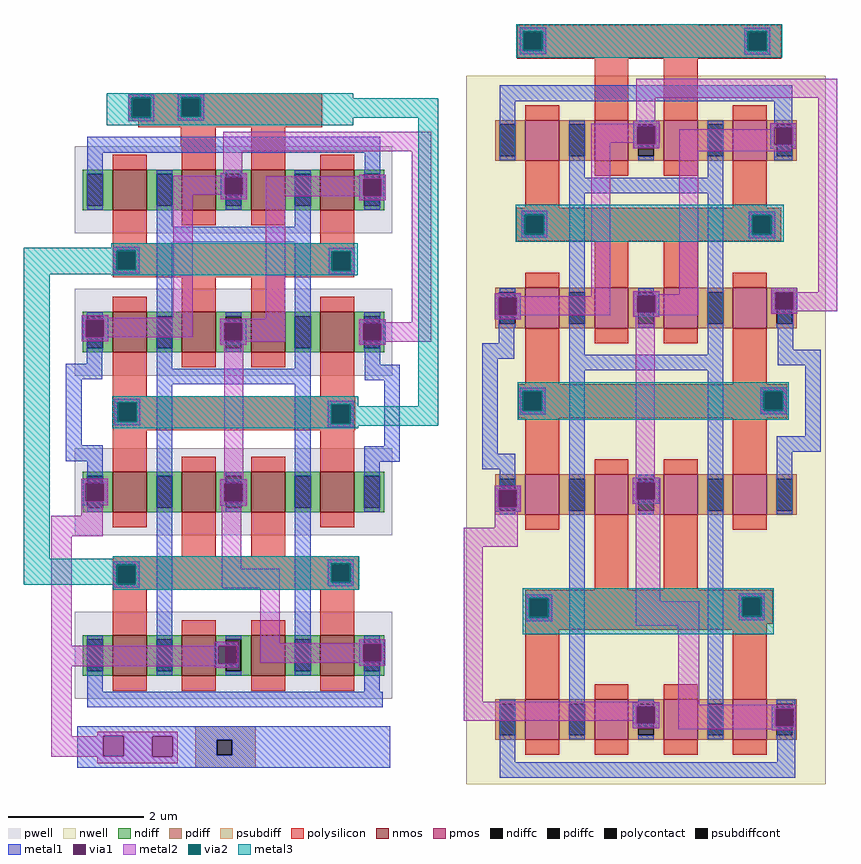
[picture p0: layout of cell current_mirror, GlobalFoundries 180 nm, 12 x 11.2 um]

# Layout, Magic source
magic
tech gf180mcuC
magscale 1 10
<< nwell >>
rect 1154 -30 2214 91
rect 1486 -410 2205 -254
rect 1154 -580 2214 -410
rect 1486 -960 2205 -580
rect 1154 -1243 2214 -960
rect 1486 -1549 2205 -1243
<< pwell >>
rect 494 170 507 177
<< ndiff >>
rect 494 170 507 177
<< psubdiff >>
rect 355 -1492 533 -1453
rect 355 -1538 418 -1492
rect 464 -1538 533 -1492
rect 355 -1575 533 -1538
<< psubdiffcont >>
rect 418 -1538 464 -1492
<< polysilicon >>
rect 1736 615 1836 617
rect 1304 590 2083 615
rect 1304 544 1328 590
rect 1374 589 2083 590
rect 1374 544 1989 589
rect 1304 543 1989 544
rect 2035 543 2083 589
rect 1304 515 2083 543
rect 187 410 729 413
rect 158 394 729 410
rect 158 393 320 394
rect 158 347 174 393
rect 220 348 320 393
rect 366 348 729 394
rect 1532 370 1632 515
rect 220 347 729 348
rect 158 331 729 347
rect 1736 336 1836 515
rect 187 313 729 331
rect 313 256 416 313
rect 316 206 416 256
rect 520 212 620 313
rect 1328 76 1428 196
rect 1940 76 2040 198
rect 112 -29 212 54
rect 724 -29 824 56
rect 1301 49 2082 76
rect 1301 3 1332 49
rect 1378 48 2082 49
rect 1378 3 2003 48
rect 1301 2 2003 3
rect 2049 2 2082 48
rect 1301 -24 2082 2
rect 112 -42 824 -29
rect 112 -57 825 -42
rect 112 -103 130 -57
rect 176 -59 825 -57
rect 176 -103 764 -59
rect 112 -105 764 -103
rect 810 -105 825 -59
rect 112 -121 825 -105
rect 112 -129 824 -121
rect 316 -198 416 -129
rect 520 -200 620 -129
rect 1532 -142 1632 -24
rect 1736 -144 1836 -24
rect 112 -480 212 -384
rect 724 -480 824 -382
rect 1328 -445 1428 -294
rect 1940 -445 2040 -311
rect 1307 -471 2100 -445
rect 1307 -472 2037 -471
rect 112 -504 826 -480
rect 112 -550 132 -504
rect 178 -510 826 -504
rect 178 -550 762 -510
rect 112 -556 762 -550
rect 808 -556 826 -510
rect 1307 -518 1327 -472
rect 1373 -517 2037 -472
rect 2083 -517 2100 -471
rect 1373 -518 2100 -517
rect 1307 -545 2100 -518
rect 112 -580 826 -556
rect 112 -669 212 -580
rect 724 -663 824 -580
rect 1328 -680 1428 -545
rect 1940 -680 2040 -545
rect 316 -951 416 -860
rect 520 -951 620 -860
rect 112 -978 837 -951
rect 112 -983 762 -978
rect 112 -1029 130 -983
rect 176 -1024 762 -983
rect 808 -1024 837 -978
rect 176 -1029 837 -1024
rect 112 -1051 837 -1029
rect 1532 -1050 1632 -871
rect 1736 -1050 1836 -872
rect 112 -1151 212 -1051
rect 724 -1146 824 -1051
rect 1328 -1078 2057 -1050
rect 1328 -1081 1973 -1078
rect 1328 -1127 1346 -1081
rect 1392 -1124 1973 -1081
rect 2019 -1124 2057 -1078
rect 1392 -1127 2057 -1124
rect 1328 -1150 2057 -1127
rect 1328 -1169 2040 -1150
rect 1328 -1346 1428 -1169
rect 1940 -1344 2040 -1169
<< polycontact >>
rect 1328 544 1374 590
rect 1989 543 2035 589
rect 174 347 220 393
rect 320 348 366 394
rect 1332 3 1378 49
rect 2003 2 2049 48
rect 130 -103 176 -57
rect 764 -105 810 -59
rect 132 -550 178 -504
rect 762 -556 808 -510
rect 1327 -518 1373 -472
rect 2037 -517 2083 -471
rect 130 -1029 176 -983
rect 762 -1024 808 -978
rect 1346 -1127 1392 -1081
rect 1973 -1124 2019 -1078
<< metal1 >>
rect 1312 595 1389 607
rect 1312 540 1324 595
rect 1377 540 1389 595
rect 1312 528 1389 540
rect 1973 594 2050 606
rect 1973 539 1985 594
rect 2038 539 2050 594
rect 1973 527 2050 539
rect 158 398 235 410
rect 158 343 170 398
rect 223 343 235 398
rect 158 331 235 343
rect 304 399 381 411
rect 304 344 316 399
rect 369 344 381 399
rect 304 332 381 344
rect 1253 390 2115 436
rect 37 238 900 284
rect 37 70 83 238
rect 241 20 287 186
rect 649 185 650 186
rect 430 165 507 177
rect 430 113 442 165
rect 495 113 507 165
rect 430 101 507 113
rect 445 81 491 101
rect 649 20 696 185
rect 854 173 900 238
rect 1253 216 1299 390
rect 839 161 916 173
rect 839 109 851 161
rect 904 109 916 161
rect 839 97 916 109
rect 1457 164 1503 332
rect 1646 315 1723 332
rect 1646 263 1658 315
rect 1711 263 1723 315
rect 1646 251 1723 263
rect 1865 164 1911 332
rect 2061 325 2115 390
rect 2050 313 2127 325
rect 2050 261 2062 313
rect 2115 261 2127 313
rect 2050 249 2127 261
rect 2061 216 2115 249
rect 1457 118 1911 164
rect 854 76 900 97
rect 241 -26 696 20
rect 1316 54 1393 66
rect 1316 -1 1328 54
rect 1381 -1 1393 54
rect 1316 -13 1393 -1
rect 114 -52 191 -40
rect 114 -107 126 -52
rect 179 -107 191 -52
rect 114 -119 191 -107
rect 35 -242 81 -237
rect 21 -254 98 -242
rect 21 -306 33 -254
rect 86 -306 98 -254
rect 21 -318 98 -306
rect 35 -384 81 -318
rect -26 -430 81 -384
rect 241 -399 287 -26
rect 429 -264 506 -252
rect 429 -316 441 -264
rect 494 -316 506 -264
rect 429 -328 506 -316
rect 649 -399 696 -26
rect 748 -54 825 -42
rect 748 -109 760 -54
rect 813 -109 825 -54
rect 748 -121 825 -109
rect 1250 -177 1296 -173
rect 1238 -189 1315 -177
rect 854 -253 900 -233
rect 1238 -241 1250 -189
rect 1303 -241 1315 -189
rect 1238 -253 1315 -241
rect 839 -265 916 -253
rect 839 -317 851 -265
rect 904 -317 916 -265
rect 839 -329 916 -317
rect 1250 -324 1296 -253
rect -26 -625 20 -430
rect 241 -445 696 -399
rect 854 -387 900 -329
rect 1201 -370 1296 -324
rect 1457 -358 1503 118
rect 1646 -182 1723 -170
rect 1646 -234 1658 -182
rect 1711 -234 1723 -182
rect 1646 -246 1723 -234
rect 1865 -358 1911 118
rect 1987 53 2064 65
rect 1987 -2 1999 53
rect 2052 -2 2064 53
rect 1987 -14 2064 -2
rect 2053 -173 2130 -161
rect 2053 -225 2065 -173
rect 2118 -225 2130 -173
rect 2053 -237 2130 -225
rect 854 -433 958 -387
rect 116 -499 193 -487
rect 116 -554 128 -499
rect 181 -554 193 -499
rect 116 -566 193 -554
rect -26 -671 83 -625
rect 37 -724 83 -671
rect 19 -736 97 -724
rect 19 -790 31 -736
rect 85 -790 97 -736
rect 19 -802 97 -790
rect 37 -820 83 -802
rect 114 -978 191 -966
rect 114 -1033 126 -978
rect 179 -1033 191 -978
rect 114 -1045 191 -1033
rect 37 -1351 83 -1186
rect 241 -1299 287 -445
rect 429 -737 507 -725
rect 429 -791 441 -737
rect 495 -791 507 -737
rect 429 -803 507 -791
rect 411 -1215 482 -1203
rect 411 -1269 423 -1215
rect 477 -1269 482 -1215
rect 411 -1281 482 -1269
rect 649 -1293 696 -445
rect 746 -505 823 -493
rect 746 -560 758 -505
rect 811 -560 823 -505
rect 746 -572 823 -560
rect 912 -627 958 -433
rect 853 -673 958 -627
rect 1201 -649 1247 -370
rect 1457 -404 1911 -358
rect 2072 -343 2118 -237
rect 2072 -389 2199 -343
rect 1311 -467 1388 -455
rect 1311 -522 1323 -467
rect 1376 -522 1388 -467
rect 1311 -534 1388 -522
rect 853 -820 899 -673
rect 1201 -695 1299 -649
rect 1253 -744 1299 -695
rect 1238 -756 1315 -744
rect 1238 -808 1250 -756
rect 1303 -808 1315 -756
rect 1238 -820 1315 -808
rect 1253 -828 1299 -820
rect 746 -973 823 -961
rect 746 -1028 758 -973
rect 811 -1028 823 -973
rect 746 -1040 823 -1028
rect 1330 -1076 1407 -1064
rect 1330 -1131 1342 -1076
rect 1395 -1131 1407 -1076
rect 1330 -1143 1407 -1131
rect 853 -1197 899 -1186
rect 839 -1209 915 -1197
rect 839 -1262 851 -1209
rect 903 -1262 915 -1209
rect 839 -1274 915 -1262
rect 853 -1351 899 -1274
rect 37 -1397 908 -1351
rect 8 -1481 930 -1453
rect 8 -1541 84 -1481
rect 144 -1482 930 -1481
rect 144 -1541 229 -1482
rect 8 -1542 229 -1541
rect 289 -1492 930 -1482
rect 289 -1538 418 -1492
rect 464 -1538 930 -1492
rect 289 -1542 930 -1538
rect 8 -1575 930 -1542
rect 1253 -1559 1299 -1375
rect 1457 -1485 1503 -404
rect 1645 -733 1722 -721
rect 1645 -785 1657 -733
rect 1710 -785 1722 -733
rect 1645 -797 1722 -785
rect 1645 -1394 1722 -1382
rect 1645 -1446 1657 -1394
rect 1710 -1446 1722 -1394
rect 1645 -1458 1722 -1446
rect 1865 -1486 1911 -404
rect 2021 -466 2098 -454
rect 2021 -521 2033 -466
rect 2086 -521 2098 -466
rect 2021 -533 2098 -521
rect 2153 -598 2199 -389
rect 2069 -644 2199 -598
rect 2069 -828 2115 -644
rect 1957 -1073 2034 -1061
rect 1957 -1128 1969 -1073
rect 2022 -1128 2034 -1073
rect 1957 -1140 2034 -1128
rect 2070 -1389 2123 -1375
rect 2054 -1401 2125 -1389
rect 2054 -1453 2066 -1401
rect 2119 -1453 2125 -1401
rect 2054 -1465 2125 -1453
rect 2070 -1559 2123 -1465
rect 1253 -1605 2123 -1559
<< via1 >>
rect 1324 590 1377 595
rect 1324 544 1328 590
rect 1328 544 1374 590
rect 1374 544 1377 590
rect 1324 540 1377 544
rect 1985 589 2038 594
rect 1985 543 1989 589
rect 1989 543 2035 589
rect 2035 543 2038 589
rect 1985 539 2038 543
rect 170 393 223 398
rect 170 347 174 393
rect 174 347 220 393
rect 220 347 223 393
rect 170 343 223 347
rect 316 394 369 399
rect 316 348 320 394
rect 320 348 366 394
rect 366 348 369 394
rect 316 344 369 348
rect 442 113 495 165
rect 851 109 904 161
rect 1658 263 1711 315
rect 2062 261 2115 313
rect 1328 49 1381 54
rect 1328 3 1332 49
rect 1332 3 1378 49
rect 1378 3 1381 49
rect 1328 -1 1381 3
rect 126 -57 179 -52
rect 126 -103 130 -57
rect 130 -103 176 -57
rect 176 -103 179 -57
rect 126 -107 179 -103
rect 33 -306 86 -254
rect 441 -316 494 -264
rect 760 -59 813 -54
rect 760 -105 764 -59
rect 764 -105 810 -59
rect 810 -105 813 -59
rect 760 -109 813 -105
rect 1250 -241 1303 -189
rect 851 -317 904 -265
rect 1658 -234 1711 -182
rect 1999 48 2052 53
rect 1999 2 2003 48
rect 2003 2 2049 48
rect 2049 2 2052 48
rect 1999 -2 2052 2
rect 2065 -225 2118 -173
rect 128 -504 181 -499
rect 128 -550 132 -504
rect 132 -550 178 -504
rect 178 -550 181 -504
rect 128 -554 181 -550
rect 31 -790 85 -736
rect 126 -983 179 -978
rect 126 -1029 130 -983
rect 130 -1029 176 -983
rect 176 -1029 179 -983
rect 126 -1033 179 -1029
rect 441 -791 495 -737
rect 423 -1269 477 -1215
rect 758 -510 811 -505
rect 758 -556 762 -510
rect 762 -556 808 -510
rect 808 -556 811 -510
rect 758 -560 811 -556
rect 1323 -472 1376 -467
rect 1323 -518 1327 -472
rect 1327 -518 1373 -472
rect 1373 -518 1376 -472
rect 1323 -522 1376 -518
rect 1250 -808 1303 -756
rect 758 -978 811 -973
rect 758 -1024 762 -978
rect 762 -1024 808 -978
rect 808 -1024 811 -978
rect 758 -1028 811 -1024
rect 1342 -1081 1395 -1076
rect 1342 -1127 1346 -1081
rect 1346 -1127 1392 -1081
rect 1392 -1127 1395 -1081
rect 1342 -1131 1395 -1127
rect 851 -1262 903 -1209
rect 84 -1541 144 -1481
rect 229 -1542 289 -1482
rect 1657 -785 1710 -733
rect 1657 -1446 1710 -1394
rect 2033 -471 2086 -466
rect 2033 -517 2037 -471
rect 2037 -517 2083 -471
rect 2083 -517 2086 -471
rect 2033 -521 2086 -517
rect 1969 -1078 2022 -1073
rect 1969 -1124 1973 -1078
rect 1973 -1124 2019 -1078
rect 2019 -1124 2022 -1078
rect 1969 -1128 2022 -1124
rect 2066 -1453 2119 -1401
<< metal2 >>
rect 1312 596 1389 607
rect 1312 539 1322 596
rect 1378 539 1389 596
rect 1312 528 1389 539
rect 1973 595 2050 606
rect 1973 538 1983 595
rect 2039 538 2050 595
rect 1973 527 2050 538
rect 158 399 235 410
rect 158 342 168 399
rect 224 342 235 399
rect 158 331 235 342
rect 304 400 381 411
rect 304 343 314 400
rect 370 343 381 400
rect 304 332 381 343
rect 1655 400 2248 456
rect 1655 332 1711 400
rect 1646 323 1723 332
rect 1522 315 1724 323
rect 437 242 1050 299
rect 437 177 494 242
rect 430 170 507 177
rect 291 165 507 170
rect 839 168 916 173
rect 291 113 442 165
rect 495 113 507 165
rect 114 -51 191 -40
rect 114 -108 124 -51
rect 180 -108 191 -51
rect 114 -119 191 -108
rect 21 -249 98 -242
rect 291 -249 348 113
rect 430 101 507 113
rect 563 161 916 168
rect 563 110 851 161
rect 21 -254 348 -249
rect 563 -252 621 110
rect 839 109 851 110
rect 904 109 916 161
rect 839 97 916 109
rect 748 -53 825 -42
rect 748 -110 758 -53
rect 814 -110 825 -53
rect 748 -121 825 -110
rect 21 -306 33 -254
rect 86 -306 348 -254
rect 429 -264 621 -252
rect 21 -318 98 -306
rect 429 -316 441 -264
rect 494 -316 621 -264
rect 429 -319 621 -316
rect 839 -262 916 -253
rect 993 -262 1050 242
rect 1522 267 1658 315
rect 1316 55 1393 66
rect 1316 -2 1326 55
rect 1382 -2 1393 55
rect 1316 -13 1393 -2
rect 1238 -185 1315 -177
rect 1522 -185 1578 267
rect 1646 263 1658 267
rect 1711 267 1724 315
rect 2050 313 2127 325
rect 2050 307 2062 313
rect 1711 263 1723 267
rect 1646 251 1723 263
rect 1781 261 2062 307
rect 2115 261 2127 313
rect 1781 249 2127 261
rect 1781 242 2111 249
rect 1238 -189 1578 -185
rect 1238 -241 1250 -189
rect 1303 -241 1578 -189
rect 1646 -179 1723 -170
rect 1781 -179 1837 242
rect 1987 54 2064 65
rect 1987 -3 1997 54
rect 2053 -3 2064 54
rect 1987 -14 2064 -3
rect 1646 -182 1837 -179
rect 1646 -234 1658 -182
rect 1711 -234 1837 -182
rect 1646 -241 1837 -234
rect 2053 -173 2130 -161
rect 2192 -173 2248 400
rect 2053 -225 2065 -173
rect 2118 -225 2248 -173
rect 2053 -229 2248 -225
rect 2053 -237 2130 -229
rect 1238 -253 1315 -241
rect 1646 -246 1723 -241
rect 839 -265 1050 -262
rect 839 -317 851 -265
rect 904 -317 1050 -265
rect 839 -319 1050 -317
rect 429 -328 506 -319
rect 116 -498 193 -487
rect 116 -555 126 -498
rect 182 -555 193 -498
rect 116 -566 193 -555
rect 23 -724 83 -723
rect 19 -736 97 -724
rect 440 -725 497 -328
rect 839 -329 916 -319
rect 1311 -466 1388 -455
rect 746 -504 823 -493
rect 746 -561 756 -504
rect 812 -561 823 -504
rect 1311 -523 1321 -466
rect 1377 -523 1388 -466
rect 1311 -534 1388 -523
rect 746 -572 823 -561
rect 1653 -721 1709 -246
rect 2021 -465 2098 -454
rect 2021 -522 2031 -465
rect 2087 -522 2098 -465
rect 2021 -533 2098 -522
rect 1645 -722 1722 -721
rect 19 -790 31 -736
rect 85 -790 97 -736
rect 19 -802 97 -790
rect 429 -737 507 -725
rect 429 -791 441 -737
rect 495 -791 507 -737
rect 1645 -733 1725 -722
rect 19 -833 83 -802
rect 429 -803 507 -791
rect 1238 -756 1315 -744
rect -69 -893 83 -833
rect -69 -1216 -9 -893
rect 114 -977 191 -966
rect 114 -1034 124 -977
rect 180 -1034 191 -977
rect 114 -1045 191 -1034
rect 433 -988 491 -803
rect 1238 -808 1250 -756
rect 1303 -808 1315 -756
rect 1645 -785 1657 -733
rect 1710 -785 1725 -733
rect 1645 -797 1725 -785
rect 1238 -820 1315 -808
rect 1238 -867 1305 -820
rect 1147 -923 1305 -867
rect 746 -972 823 -961
rect 433 -1046 604 -988
rect 746 -1029 756 -972
rect 812 -1029 823 -972
rect 746 -1040 823 -1029
rect 411 -1215 482 -1203
rect 411 -1216 423 -1215
rect -69 -1269 423 -1216
rect 477 -1216 482 -1215
rect 546 -1208 604 -1046
rect 839 -1208 915 -1197
rect 546 -1209 915 -1208
rect 477 -1269 485 -1216
rect 546 -1262 851 -1209
rect 903 -1262 915 -1209
rect 546 -1266 915 -1262
rect -69 -1276 485 -1269
rect 839 -1274 915 -1266
rect -69 -1482 -9 -1276
rect 411 -1281 482 -1276
rect 1147 -1380 1203 -923
rect 1330 -1075 1407 -1064
rect 1330 -1132 1340 -1075
rect 1396 -1132 1407 -1075
rect 1330 -1143 1407 -1132
rect 1653 -1084 1725 -797
rect 1957 -1072 2034 -1061
rect 1653 -1156 1841 -1084
rect 1957 -1129 1967 -1072
rect 2023 -1129 2034 -1072
rect 1957 -1140 2034 -1129
rect 1777 -1181 1841 -1156
rect 1147 -1382 1711 -1380
rect 1147 -1394 1722 -1382
rect 1147 -1436 1657 -1394
rect 1645 -1446 1657 -1436
rect 1710 -1446 1722 -1394
rect 1645 -1458 1722 -1446
rect 1778 -1389 1841 -1181
rect 1778 -1401 2126 -1389
rect 1778 -1453 2066 -1401
rect 2119 -1453 2126 -1401
rect 1778 -1461 2126 -1453
rect 2054 -1465 2125 -1461
rect 66 -1481 303 -1469
rect 66 -1482 84 -1481
rect -69 -1541 84 -1482
rect 144 -1482 303 -1481
rect 144 -1541 229 -1482
rect -69 -1542 229 -1541
rect 289 -1542 303 -1482
rect 66 -1562 303 -1542
<< via2 >>
rect 1322 595 1378 596
rect 1322 540 1324 595
rect 1324 540 1377 595
rect 1377 540 1378 595
rect 1322 539 1378 540
rect 1983 594 2039 595
rect 1983 539 1985 594
rect 1985 539 2038 594
rect 2038 539 2039 594
rect 1983 538 2039 539
rect 168 398 224 399
rect 168 343 170 398
rect 170 343 223 398
rect 223 343 224 398
rect 168 342 224 343
rect 314 399 370 400
rect 314 344 316 399
rect 316 344 369 399
rect 369 344 370 399
rect 314 343 370 344
rect 124 -52 180 -51
rect 124 -107 126 -52
rect 126 -107 179 -52
rect 179 -107 180 -52
rect 124 -108 180 -107
rect 758 -54 814 -53
rect 758 -109 760 -54
rect 760 -109 813 -54
rect 813 -109 814 -54
rect 758 -110 814 -109
rect 1326 54 1382 55
rect 1326 -1 1328 54
rect 1328 -1 1381 54
rect 1381 -1 1382 54
rect 1326 -2 1382 -1
rect 1997 53 2053 54
rect 1997 -2 1999 53
rect 1999 -2 2052 53
rect 2052 -2 2053 53
rect 1997 -3 2053 -2
rect 126 -499 182 -498
rect 126 -554 128 -499
rect 128 -554 181 -499
rect 181 -554 182 -499
rect 126 -555 182 -554
rect 756 -505 812 -504
rect 756 -560 758 -505
rect 758 -560 811 -505
rect 811 -560 812 -505
rect 756 -561 812 -560
rect 1321 -467 1377 -466
rect 1321 -522 1323 -467
rect 1323 -522 1376 -467
rect 1376 -522 1377 -467
rect 1321 -523 1377 -522
rect 2031 -466 2087 -465
rect 2031 -521 2033 -466
rect 2033 -521 2086 -466
rect 2086 -521 2087 -466
rect 2031 -522 2087 -521
rect 124 -978 180 -977
rect 124 -1033 126 -978
rect 126 -1033 179 -978
rect 179 -1033 180 -978
rect 124 -1034 180 -1033
rect 756 -973 812 -972
rect 756 -1028 758 -973
rect 758 -1028 811 -973
rect 811 -1028 812 -973
rect 756 -1029 812 -1028
rect 1340 -1076 1396 -1075
rect 1340 -1131 1342 -1076
rect 1342 -1131 1395 -1076
rect 1395 -1131 1396 -1076
rect 1340 -1132 1396 -1131
rect 1967 -1073 2023 -1072
rect 1967 -1128 1969 -1073
rect 1969 -1128 2022 -1073
rect 2022 -1128 2023 -1073
rect 1967 -1129 2023 -1128
<< metal3 >>
rect 1301 596 2085 617
rect 1301 539 1322 596
rect 1378 595 2085 596
rect 1378 539 1983 595
rect 1301 538 1983 539
rect 2039 538 2085 595
rect 1301 517 2085 538
rect 95 400 821 413
rect 95 399 314 400
rect 95 342 168 399
rect 224 343 314 399
rect 370 398 821 400
rect 370 343 1071 398
rect 224 342 1071 343
rect 95 340 1071 342
rect 95 319 821 340
rect 108 -43 834 -29
rect -151 -51 834 -43
rect -151 -108 124 -51
rect 180 -53 834 -51
rect 180 -108 758 -53
rect -151 -110 758 -108
rect 814 -110 834 -53
rect -151 -120 834 -110
rect -151 -959 -74 -120
rect 108 -123 834 -120
rect 110 -498 836 -480
rect 110 -555 126 -498
rect 182 -504 836 -498
rect 182 -555 756 -504
rect 110 -561 756 -555
rect 812 -509 836 -504
rect 1013 -509 1071 340
rect 1300 55 2089 85
rect 1300 -2 1326 55
rect 1382 54 2089 55
rect 1382 -2 1997 54
rect 1300 -3 1997 -2
rect 2053 -3 2089 54
rect 1300 -25 2089 -3
rect 812 -561 1071 -509
rect 1305 -465 2104 -439
rect 1305 -466 2031 -465
rect 1305 -523 1321 -466
rect 1377 -522 2031 -466
rect 2087 -522 2104 -465
rect 1377 -523 2104 -522
rect 1305 -550 2104 -523
rect 110 -567 1071 -561
rect 110 -574 836 -567
rect 112 -959 839 -951
rect -151 -972 839 -959
rect -151 -977 756 -972
rect -151 -1034 124 -977
rect 180 -1029 756 -977
rect 812 -1029 839 -972
rect 180 -1034 839 -1029
rect -151 -1036 839 -1034
rect 112 -1051 839 -1036
rect 1321 -1072 2060 -1046
rect 1321 -1075 1967 -1072
rect 1321 -1132 1340 -1075
rect 1396 -1129 1967 -1075
rect 2023 -1129 2060 -1072
rect 1396 -1132 2060 -1129
rect 1321 -1181 2060 -1132
use nmos_3p3_MGEA3B  nmos_3p3_MGEA3B_0
transform 1 0 774 0 1 -291
box -162 -128 162 128
use nmos_3p3_MGEA3B  nmos_3p3_MGEA3B_1
transform 1 0 162 0 1 -291
box -162 -128 162 128
use nmos_3p3_MGEA3B  nmos_3p3_MGEA3B_2
transform 1 0 366 0 1 -291
box -162 -128 162 128
use nmos_3p3_MGEA3B  nmos_3p3_MGEA3B_3
transform 1 0 570 0 1 -291
box -162 -128 162 128
use nmos_3p3_MGEA3B  nmos_3p3_MGEA3B_4
transform 1 0 774 0 1 128
box -162 -128 162 128
use nmos_3p3_MGEA3B  nmos_3p3_MGEA3B_5
transform 1 0 570 0 1 128
box -162 -128 162 128
use nmos_3p3_MGEA3B  nmos_3p3_MGEA3B_6
transform 1 0 366 0 1 128
box -162 -128 162 128
use nmos_3p3_MGEA3B  nmos_3p3_MGEA3B_7
transform 1 0 162 0 1 128
box -162 -128 162 128
use nmos_3p3_MGEA3B  nmos_3p3_MGEA3B_8
transform 1 0 774 0 1 -1244
box -162 -128 162 128
use nmos_3p3_MGEA3B  nmos_3p3_MGEA3B_9
transform 1 0 570 0 1 -1244
box -162 -128 162 128
use nmos_3p3_MGEA3B  nmos_3p3_MGEA3B_10
transform 1 0 366 0 1 -1244
box -162 -128 162 128
use nmos_3p3_MGEA3B  nmos_3p3_MGEA3B_11
transform 1 0 162 0 1 -1244
box -162 -128 162 128
use nmos_3p3_MGEA3B  nmos_3p3_MGEA3B_12
transform 1 0 774 0 1 -762
box -162 -128 162 128
use nmos_3p3_MGEA3B  nmos_3p3_MGEA3B_13
transform 1 0 570 0 1 -762
box -162 -128 162 128
use nmos_3p3_MGEA3B  nmos_3p3_MGEA3B_14
transform 1 0 366 0 1 -762
box -162 -128 162 128
use nmos_3p3_MGEA3B  nmos_3p3_MGEA3B_15
transform 1 0 162 0 1 -762
box -162 -128 162 128
use pmos_3p3_K82TLM  pmos_3p3_K82TLM_0
transform 1 0 1990 0 1 274
box -224 -190 224 190
use pmos_3p3_K82TLM  pmos_3p3_K82TLM_1
transform 1 0 1786 0 1 274
box -224 -190 224 190
use pmos_3p3_K82TLM  pmos_3p3_K82TLM_2
transform 1 0 1582 0 1 -220
box -224 -190 224 190
use pmos_3p3_K82TLM  pmos_3p3_K82TLM_3
transform 1 0 1582 0 1 274
box -224 -190 224 190
use pmos_3p3_K82TLM  pmos_3p3_K82TLM_4
transform 1 0 1378 0 1 -220
box -224 -190 224 190
use pmos_3p3_K82TLM  pmos_3p3_K82TLM_5
transform 1 0 1786 0 1 -220
box -224 -190 224 190
use pmos_3p3_K82TLM  pmos_3p3_K82TLM_6
transform 1 0 1990 0 1 -220
box -224 -190 224 190
use pmos_3p3_K82TLM  pmos_3p3_K82TLM_7
transform 1 0 1378 0 1 274
box -224 -190 224 190
use pmos_3p3_K82TLM  pmos_3p3_K82TLM_8
transform 1 0 1786 0 1 -1433
box -224 -190 224 190
use pmos_3p3_K82TLM  pmos_3p3_K82TLM_9
transform 1 0 1582 0 1 -770
box -224 -190 224 190
use pmos_3p3_K82TLM  pmos_3p3_K82TLM_10
transform 1 0 1378 0 1 -770
box -224 -190 224 190
use pmos_3p3_K82TLM  pmos_3p3_K82TLM_11
transform 1 0 1990 0 1 -770
box -224 -190 224 190
use pmos_3p3_K82TLM  pmos_3p3_K82TLM_12
transform 1 0 1582 0 1 -1433
box -224 -190 224 190
use pmos_3p3_K82TLM  pmos_3p3_K82TLM_13
transform 1 0 1378 0 1 -1433
box -224 -190 224 190
use pmos_3p3_K82TLM  pmos_3p3_K82TLM_14
transform 1 0 1990 0 1 -1433
box -224 -190 224 190
use pmos_3p3_K82TLM  pmos_3p3_K82TLM_15
transform 1 0 1786 0 1 -770
box -224 -190 224 190
<< end >>

# cell nmos_3p3_MGEA3B: kit device nmos_3p3, w 0.6 l 0.5 m 1 nf 1 diffcov 100 polycov 100 guard 0 glc 0 grc 0 gtc 0 gbc 0 tbcov 100 rlcov 100 topc 0 botc 0 poverlap 0 doverlap 1 lmin 0.28 wmin 0.22 full_metal 0 compatible {nmos_3p3 nmos_6p0 nmos_6p0_nat}

# cell pmos_3p3_K82TLM: kit device pmos_3p3, w 0.6 l 0.5 m 1 nf 1 diffcov 100 polycov 100 guard 0 glc 0 grc 0 gtc 0 gbc 0 tbcov 100 rlcov 100 topc 0 botc 0 poverlap 0 doverlap 1 lmin 0.28 wmin 0.22 full_metal 0 compatible {pmos_3p3 pmos_6p0}
